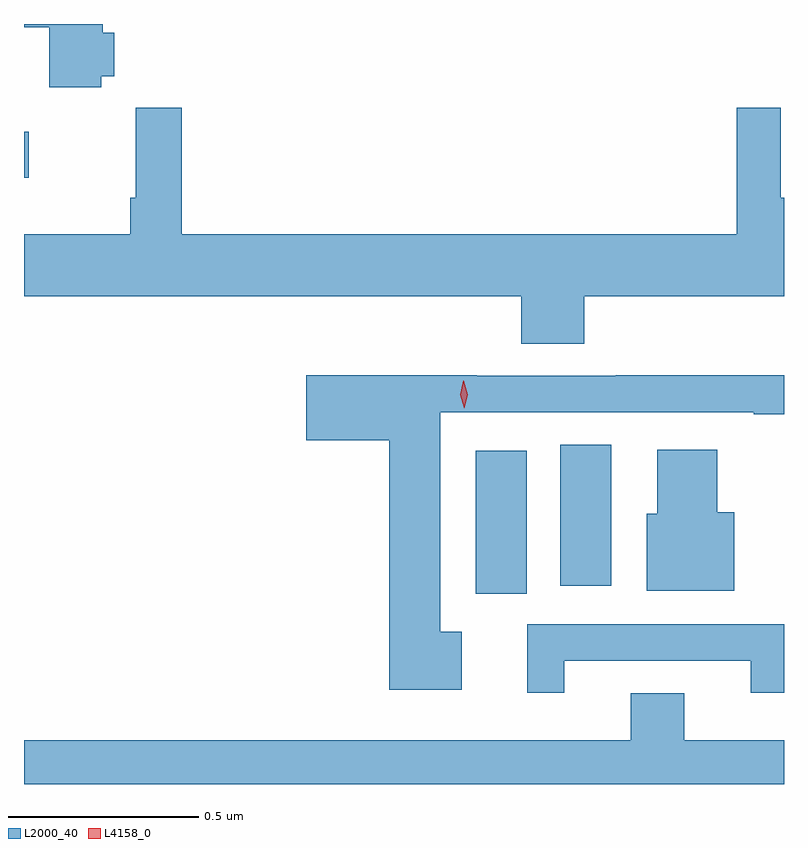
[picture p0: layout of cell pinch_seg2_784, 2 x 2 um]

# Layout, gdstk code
import gdstk
lib = gdstk.Library(unit=1e-6, precision=1e-09)
def R(c, l, rs):  # rectangles x0, y0, x1, y1
    for r in rs: c.add(gdstk.rectangle(r[:2], r[2:], *l))
def P(c, l, *ps):  # polygons
    for p in ps: c.add(gdstk.Polygon(p, *l))
L2000_40 = (2000, 40)
L4158_0 = (4158, 0)

pinch_seg2_784 = lib.new_cell('pinch_seg2_784')
R(pinch_seg2_784, L2000_40, [(685.28,652.182,685.414,652.558), (685.502,652.203,685.636,652.574), (684.091,653.276,684.103,653.398)])
P(pinch_seg2_784, L2000_40, [(684.294,653.544),(684.329,653.544),(684.329,653.658),(684.298,653.658),(684.298,653.681),(684.091,653.681),(684.091,653.672),(684.158,653.672),(684.158,653.515),(684.294,653.515)],
  [(685.565,652.964),(686.091,652.964),(686.091,653.224),(686.082,653.224),(686.082,653.461),(685.966,653.461),(685.966,653.128),(684.506,653.128),(684.506,653.461),(684.385,653.461),(684.385,653.224),(684.37,653.224),(684.37,653.128),(684.091,653.128),(684.091,652.964),(685.4,652.964),(685.4,652.84),(685.565,652.84)],
  [(685.243,652.082),(685.186,652.082),(685.186,652.659),(686.011,652.659),(686.011,652.654),(686.091,652.654),(686.091,652.757),(685.648,652.757),(685.648,652.755),(685.282,652.755),(685.282,652.757),(684.834,652.757),(684.834,652.586),(685.052,652.586),(685.052,651.929),(685.243,651.929)],
  [(685.96,652.396),(685.915,652.396),(685.915,652.561),(685.757,652.561),(685.757,652.392),(685.73,652.392),(685.73,652.19),(685.96,652.19)],
  [(685.513,652.005),(686.003,652.005),(686.003,651.921),(686.091,651.921),(686.091,652.101),(685.415,652.101),(685.415,651.921),(685.513,651.921)],
  [(686.091,651.796),(685.828,651.796),(685.828,651.92),(685.688,651.92),(685.688,651.796),(684.091,651.796),(684.091,651.681),(686.091,651.681)])
P(pinch_seg2_784, L4158_0, [(685.25,652.67),(685.25,652.67),(685.239,652.706),(685.247,652.742),(685.248,652.742),(685.248,652.742),(685.259,652.706),(685.25,652.67)])

lib.write_gds('pinch_seg2_784.gds')
